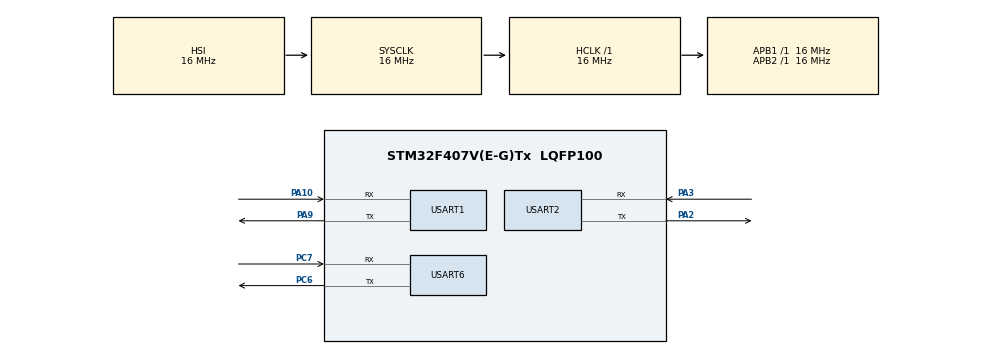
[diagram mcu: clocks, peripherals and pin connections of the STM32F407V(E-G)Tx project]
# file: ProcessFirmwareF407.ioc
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FREERTOS.Mutexes01=BufferFotaMutex,Dynamic,NULL
FREERTOS.Tasks01=defaultTask,0,128,StartDefaultTask,Default,NULL,Dynamic,NULL,NULL;taskFota,1,128,StartFotaTask,Default,NULL,Dynamic,NULL,NULL
Mcu.Family=STM32F4
Mcu.Name=STM32F407V(E-G)Tx
Mcu.Package=LQFP100
NVIC.PriorityGroup=NVIC_PRIORITYGROUP_4
NVIC.TIM4_IRQn=true\:15\:0\:false\:false\:true\:false\:false\:true\:true
NVIC.TimeBase=TIM4_IRQn
NVIC.TimeBaseIP=TIM4
NVIC.USART1_IRQn=true\:5\:0\:false\:false\:true\:true\:true\:true\:true
NVIC.USART6_IRQn=true\:5\:0\:false\:false\:true\:true\:true\:true\:true
PA10.GPIO_Speed=GPIO_SPEED_FREQ_HIGH
PA10.Mode=Asynchronous
PA10.Signal=USART1_RX
PA13.Mode=Serial_Wire
PA13.Signal=SYS_JTMS-SWDIO
PA14.Mode=Serial_Wire
PA14.Signal=SYS_JTCK-SWCLK
PA2.GPIO_PuPd=GPIO_NOPULL
PA2.GPIO_Speed=GPIO_SPEED_FREQ_HIGH
PA2.Mode=Asynchronous
PA2.Signal=USART2_TX
PA3.GPIO_Speed=GPIO_SPEED_FREQ_HIGH
PA3.Mode=Asynchronous
PA3.Signal=USART2_RX
PA9.GPIO_Speed=GPIO_SPEED_FREQ_HIGH
PA9.Mode=Asynchronous
PA9.Signal=USART1_TX
PC6.Mode=Asynchronous
PC6.Signal=USART6_TX
PC7.Mode=Asynchronous
PC7.Signal=USART6_RX
ProjectManager.HeapSize=0x200
ProjectManager.StackSize=0x400
ProjectManager.TargetToolchain=MDK-ARM V5.32
RCC.AHBFreq_Value=16000000
RCC.APB1Freq_Value=16000000
RCC.APB2Freq_Value=16000000
RCC.CortexFreq_Value=16000000
RCC.HSE_VALUE=25000000
RCC.HSI_VALUE=16000000
RCC.LSE_VALUE=32768
RCC.SYSCLKFreq_VALUE=16000000
RCC.VCOOutputFreq_Value=192000000
USART1.VirtualMode=VM_ASYNC
USART2.VirtualMode=VM_ASYNC
USART6.VirtualMode=VM_ASYNC
VP_FREERTOS_VS_CMSIS_V1.Mode=CMSIS_V1
VP_SYS_VS_tim4.Mode=TIM4
board=custom

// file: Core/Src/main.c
/* USER CODE BEGIN Header */
/**
  ******************************************************************************
  * @file           : main.c
  * @brief          : Main program body
  ******************************************************************************
  * @attention
  *
  * Copyright (c) 2024 STMicroelectronics.
  * All rights reserved.
  *
  * This software is licensed under terms that can be found in the LICENSE file
  * in the root directory of this software component.
  * If no LICENSE file comes with this software, it is provided AS-IS.
  *
  ******************************************************************************
  */
/* USER CODE END Header */
#include "main.h"
#include "cmsis_os.h"

/* USER CODE BEGIN Includes */
#include "TaskProcessFirmware.h"
#include "flash.h"
/* USER CODE END Includes */

UART_HandleTypeDef huart1;
UART_HandleTypeDef huart2;
UART_HandleTypeDef huart6;

osThreadId defaultTaskHandle;
osThreadId taskFotaHandle;
osMutexId BufferFotaMutexHandle;
/* USER CODE BEGIN PV */
unsigned char buffer[SizeOfBuffer];
uint8_t RxData[MaxLengthLine];

uint16_t  uchar_array_length = 2048;
uint8_t hexArray[SizeOfBuffer];
uint8_t hexPair[SizeOfBuffer/2];
volatile uint16_t RxDataIndex = 0;
uint8_t RxDataChar[1];
/* USER CODE END PV */

void SystemClock_Config(void);
static void MX_GPIO_Init(void);
static void MX_USART1_UART_Init(void);
static void MX_USART2_UART_Init(void);
static void MX_USART6_UART_Init(void);
void StartDefaultTask(void const * argument);
void StartFotaTask(void const * argument);

/* USER CODE BEGIN PFP */
void HAL_UART_RxCpltCallback(UART_HandleTypeDef *huart);
void erase_flash_sector(uint32_t sector_number);
/* USER CODE END PFP */

int main(void)
{

  /* MCU Configuration--------------------------------------------------------*/

  /* Reset of all peripherals, Initializes the Flash interface and the Systick. */
  HAL_Init();

  /* Configure the system clock */
  SystemClock_Config();

  /* Initialize all configured peripherals */
  MX_GPIO_Init();
  MX_USART1_UART_Init();
  MX_USART2_UART_Init();
  MX_USART6_UART_Init();
  /* USER CODE BEGIN 2 */
	uint8_t tx_data_1[28]="Start processing firmware\r\n";
	HAL_UART_Transmit(&huart6,tx_data_1, sizeof(tx_data_1), 100);
	/*
	HAL_FLASH_Unlock();
	//FLASH_Erase_Sector(FLASH_SECTOR_4, FLASH_VOLTAGE_RANGE_3);
	FLASH_Erase_Sector(FLASH_SECTOR_5, FLASH_VOLTAGE_RANGE_3);
	FLASH_Erase_Sector(FLASH_SECTOR_6, FLASH_VOLTAGE_RANGE_3);
	HAL_FLASH_Lock();
	*/
	erase_flash_sector(FLASH_SECTOR_5);
	erase_flash_sector(FLASH_SECTOR_6);
	uint8_t tx_data_2[24] = "Erase old flash done!\r\n";
	HAL_UART_Transmit(&huart6,tx_data_2, sizeof(tx_data_2), 100);
	//HAL_UART_Receive_IT(&huart6, RxData, MaxLengthLine); // use when receive entire data line
  HAL_UART_Receive_IT(&huart6, RxDataChar, 1);
  /* USER CODE END 2 */

  /* Create the mutex(es) */
  /* definition and creation of BufferFotaMutex */
  osMutexDef(BufferFotaMutex);
  BufferFotaMutexHandle = osMutexCreate(osMutex(BufferFotaMutex));

  /* Create the thread(s) */
  /* definition and creation of defaultTask */
  osThreadDef(defaultTask, StartDefaultTask, osPriorityNormal, 0, 128);
  defaultTaskHandle = osThreadCreate(osThread(defaultTask), NULL);

  /* definition and creation of taskFota */
  osThreadDef(taskFota, StartFotaTask, osPriorityAboveNormal, 0, 128);
  taskFotaHandle = osThreadCreate(osThread(taskFota), NULL);

  /* Start scheduler */
  osKernelStart();
  /* We should never get here as control is now taken by the scheduler */
  /* Infinite loop */
  while (1)
  {

  }
}

void SystemClock_Config(void)
{
  RCC_OscInitTypeDef RCC_OscInitStruct = {0};
  RCC_ClkInitTypeDef RCC_ClkInitStruct = {0};

  /** Configure the main internal regulator output voltage
  */
  __HAL_RCC_PWR_CLK_ENABLE();
  __HAL_PWR_VOLTAGESCALING_CONFIG(PWR_REGULATOR_VOLTAGE_SCALE1);

  /** Initializes the RCC Oscillators according to the specified parameters
  * in the RCC_OscInitTypeDef structure.
  */
  RCC_OscInitStruct.OscillatorType = RCC_OSCILLATORTYPE_HSI;
  RCC_OscInitStruct.HSIState = RCC_HSI_ON;
  RCC_OscInitStruct.HSICalibrationValue = RCC_HSICALIBRATION_DEFAULT;
  RCC_OscInitStruct.PLL.PLLState = RCC_PLL_NONE;
  if (HAL_RCC_OscConfig(&RCC_OscInitStruct) != HAL_OK)
  {
    Error_Handler();
  }

  /** Initializes the CPU, AHB and APB buses clocks
  */
  RCC_ClkInitStruct.ClockType = RCC_CLOCKTYPE_HCLK|RCC_CLOCKTYPE_SYSCLK
                              |RCC_CLOCKTYPE_PCLK1|RCC_CLOCKTYPE_PCLK2;
  RCC_ClkInitStruct.SYSCLKSource = RCC_SYSCLKSOURCE_HSI;
  RCC_ClkInitStruct.AHBCLKDivider = RCC_SYSCLK_DIV1;
  RCC_ClkInitStruct.APB1CLKDivider = RCC_HCLK_DIV1;
  RCC_ClkInitStruct.APB2CLKDivider = RCC_HCLK_DIV1;

  if (HAL_RCC_ClockConfig(&RCC_ClkInitStruct, FLASH_LATENCY_0) != HAL_OK)
  {
    Error_Handler();
  }
}

static void MX_USART1_UART_Init(void)
{

  /* USER CODE BEGIN USART1_Init 0 */
	GPIO_InitTypeDef UART1_GPIO_Handler; /*Create GPIO_InitTypeDef struct instance */
	UART1_GPIO_Handler.Pin = GPIO_PIN_9 | GPIO_PIN_10;
	UART1_GPIO_Handler.Mode = GPIO_MODE_AF_PP;
	UART1_GPIO_Handler.Pull = GPIO_PULLUP;
	UART1_GPIO_Handler.Speed = GPIO_SPEED_FREQ_VERY_HIGH;
	UART1_GPIO_Handler.Alternate = GPIO_AF7_USART1;
	HAL_GPIO_Init(GPIOA, &UART1_GPIO_Handler);
  /* USER CODE END USART1_Init 0 */

  huart1.Instance = USART1;
  huart1.Init.BaudRate = 115200;
  huart1.Init.WordLength = UART_WORDLENGTH_8B;
  huart1.Init.StopBits = UART_STOPBITS_1;
  huart1.Init.Parity = UART_PARITY_NONE;
  huart1.Init.Mode = UART_MODE_TX_RX;
  huart1.Init.HwFlowCtl = UART_HWCONTROL_NONE;
  huart1.Init.OverSampling = UART_OVERSAMPLING_16;
  if (HAL_UART_Init(&huart1) != HAL_OK)
  {
    Error_Handler();
  }

}

static void MX_USART2_UART_Init(void)
{

  huart2.Instance = USART2;
  huart2.Init.BaudRate = 115200;
  huart2.Init.WordLength = UART_WORDLENGTH_8B;
  huart2.Init.StopBits = UART_STOPBITS_1;
  huart2.Init.Parity = UART_PARITY_NONE;
  huart2.Init.Mode = UART_MODE_TX_RX;
  huart2.Init.HwFlowCtl = UART_HWCONTROL_NONE;
  huart2.Init.OverSampling = UART_OVERSAMPLING_16;
  if (HAL_UART_Init(&huart2) != HAL_OK)
  {
    Error_Handler();
  }

}

static void MX_USART6_UART_Init(void)
{

  huart6.Instance = USART6;
  huart6.Init.BaudRate = 115200;
  huart6.Init.WordLength = UART_WORDLENGTH_8B;
  huart6.Init.StopBits = UART_STOPBITS_1;
  huart6.Init.Parity = UART_PARITY_NONE;
  huart6.Init.Mode = UART_MODE_TX_RX;
  huart6.Init.HwFlowCtl = UART_HWCONTROL_NONE;
  huart6.Init.OverSampling = UART_OVERSAMPLING_16;
  if (HAL_UART_Init(&huart6) != HAL_OK)
  {
    Error_Handler();
  }

}

static void MX_GPIO_Init(void)
{

  /* GPIO Ports Clock Enable */
  __HAL_RCC_GPIOA_CLK_ENABLE();
  __HAL_RCC_GPIOC_CLK_ENABLE();

}

/* USER CODE BEGIN 4 */
void HAL_UART_RxCpltCallback(UART_HandleTypeDef *huart)
{
  if(huart->Instance == USART6)
 {
	 uint8_t RxLength = 0;
	 // start receive uart
	 RxData[RxDataIndex++] = RxDataChar[0];
    if (RxDataChar[0] == '\n')
    {
			RxLength = RxDataIndex - 1;
			HAL_UART_Transmit(&huart6, RxData, RxLength, 100);
			if(WriteLineToFlash(RxData, RxLength) == WritePageNoError)
			{
				uint8_t tx_data_read[20]="OK\r\n";
				HAL_UART_Transmit(&huart6,tx_data_read, sizeof(tx_data_read), 100);
			}
			else
			{
				uint8_t tx_data_read_1[20]="Not good\r\n";
				HAL_UART_Transmit(&huart6,tx_data_read_1, sizeof(tx_data_read_1), 100);
			}
      RxDataIndex = 0;
      HAL_UART_Receive_IT(&huart6, RxDataChar, 1);
    }
    else
    {
      HAL_UART_Receive_IT(&huart6, RxDataChar, 1);
    }
	 // end recerive uart
		/*
	 HAL_UART_Transmit(&huart6, RxData, MaxLengthLine, 100);
	 uint8_t RxLength = sizeof(RxData) / sizeof(uint8_t);
	 if(WriteLineToFlash(RxData, RxLength) == WritePageNoError)
	 {
		 uint8_t tx_data_read[20]="OK\r\n";
		 HAL_UART_Transmit(&huart6,tx_data_read, sizeof(tx_data_read), 100);
	 }
	 else
	 {
		 uint8_t tx_data_read_1[20]="Not good\r\n";
		 HAL_UART_Transmit(&huart6,tx_data_read_1, sizeof(tx_data_read_1), 100);
	 }
		*/
	 //HAL_UART_Receive_IT(&huart6, RxData, MaxLengthLine);
 }
}

void erase_flash_sector(uint32_t sector_number)
{
    FLASH_EraseInitTypeDef erase_init;
    uint32_t sector_error = 0;

    // Fill erase structure
    erase_init.TypeErase = FLASH_TYPEERASE_SECTORS;
    erase_init.Sector = sector_number;
    erase_init.NbSectors = 1;
    erase_init.VoltageRange = FLASH_VOLTAGE_RANGE_3;

    HAL_FLASH_Unlock();
    HAL_FLASHEx_Erase(&erase_init, &sector_error);
    HAL_FLASH_Lock();
}

/* USER CODE END 4 */

void StartDefaultTask(void const * argument)
{
  for(;;)
  {
    osDelay(1);
  }
}

void StartFotaTask(void const * argument)
{
  for(;;)
  {
    osDelay(1);
  }
}

void HAL_TIM_PeriodElapsedCallback(TIM_HandleTypeDef *htim)
{
  if (htim->Instance == TIM4) {
    HAL_IncTick();
  }
}

void Error_Handler(void)
{
  __disable_irq();
  while (1)
  {
  }
}
